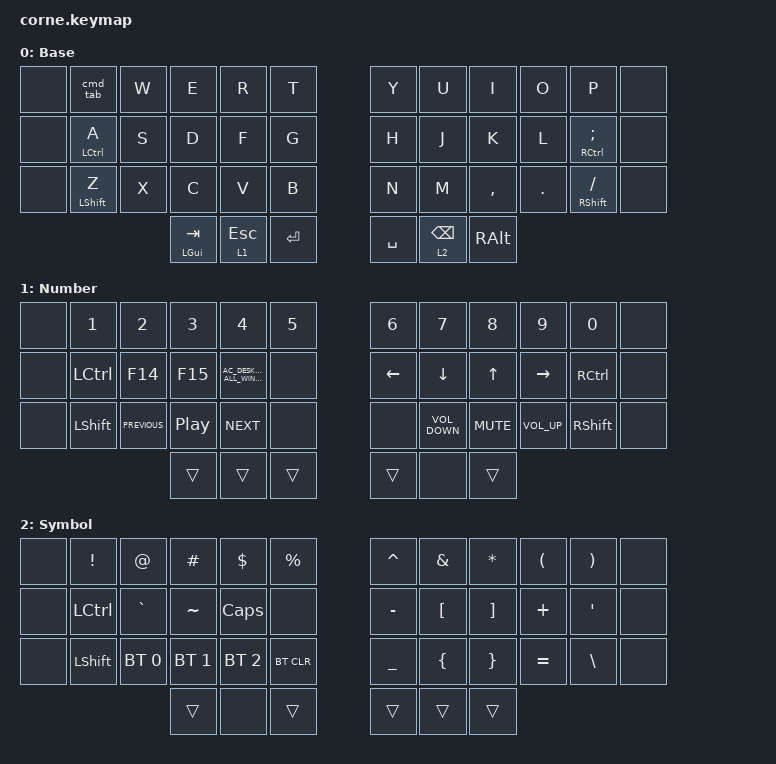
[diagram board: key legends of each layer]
/*
 * Copyright (c) 2020 The ZMK Contributors
 *
 * SPDX-License-Identifier: MIT
 */

#include <behaviors.dtsi>
#include <dt-bindings/zmk/bt.h>
#include <dt-bindings/zmk/keys.h>

&mt {
  flavor = "balanced";
  quick-tap-ms = <200>;
};

&lt {
  flavor = "balanced";
  quick-tap-ms = <200>;
};

/ {
        behaviors {
          cmd_tab: cmd_tab {
            compatible = "zmk,behavior-mod-morph";
            #binding-cells = <0>;
            bindings = <&kp Q>, <&kp TAB>;
            mods = <(MOD_LGUI)>;
            keep-mods = <(MOD_LGUI)>;
          };
        };

        keymap {
                compatible = "zmk,keymap";

                default_layer {
                        display-name = "Base";
                        bindings = <
// ╭───────────────┬───────────────┬───────────────┬───────────────┬───────────────┬───────────────╮  ╭───────────────┬───────────────┬───────────────┬───────────────┬───────────────┬───────────────╮
    &none           &cmd_tab        &kp W           &kp E           &kp R           &kp T              &kp Y           &kp U           &kp I           &kp O           &kp P           &none
// ├───────────────┼───────────────┼───────────────┼───────────────┼───────────────┤───────────────┤  ├───────────────┼───────────────┼───────────────┼───────────────┼───────────────┤───────────────┤
    &none           &mt LCTRL A     &kp S           &kp D           &kp F           &kp G              &kp H           &kp J           &kp K           &kp L           &mt RCTRL SEMI  &none
// ├───────────────┼───────────────┼───────────────┼───────────────┼───────────────┤───────────────┤  ├───────────────┼───────────────┼───────────────┼───────────────┼───────────────┤───────────────┤
    &none           &mt LSHFT Z     &kp X           &kp C           &kp V           &kp B              &kp N           &kp M           &kp COMMA       &kp DOT         &mt RSHFT SLASH &none
// ├───────────────┼───────────────┼───────────────┼───────────────┼───────────────┤───────────────┤  ├───────────────┼───────────────┼───────────────┼───────────────┼───────────────┤───────────────┤
                                                    &mt LGUI TAB    &lt 1 ESC       &kp RET            &kp SPACE       &lt 2 BSPC      &kp RALT
//                                                 ╰───────────────┴───────────────┴───────────────╯  ╰───────────────┴───────────────┴───────────────╯
                        >;
                };

                lower_layer {
                        display-name = "Number";
                        bindings = <
// ╭───────────────┬───────────────┬───────────────┬─────────────────┬───────────────┬───────────────╮  ╭───────────────┬──────────────────┬───────────────┬────────────────┬───────────────┬───────────────╮
    &none           &kp N1          &kp N2          &kp N3            &kp N4          &kp N5             &kp N6          &kp N7             &kp N8          &kp N9           &kp N0          &none
// ├───────────────┼───────────────┼───────────────┼─────────────────┼───────────────┤───────────────┤  ├───────────────┼──────────────────┼───────────────┼────────────────┼───────────────┤───────────────┤
    &none           &kp LCTRL       &kp F14         &kp F15           &kp C_AC_DESKTOP_SHOW_ALL_WINDOWS  &none &kp LEFT  &kp DOWN           &kp UP          &kp RIGHT        &kp RCTRL       &none
// ├───────────────┼───────────────┼───────────────┼─────────────────┼───────────────┤───────────────┤  ├───────────────┼──────────────────┼───────────────┼────────────────┼───────────────┤───────────────┤
    &none           &kp LSHFT       &kp C_PREVIOUS  &kp C_PLAY_PAUSE  &kp C_NEXT      &none              &none           &kp C_VOLUME_DOWN  &kp K_MUTE      &kp C_VOLUME_UP  &kp RSHFT       &none
// ├───────────────┼───────────────┼───────────────┼─────────────────┼───────────────┤───────────────┤  ├───────────────┼──────────────────┼───────────────┼────────────────┼───────────────┤───────────────┤
                                                    &trans            &trans          &trans             &trans          &none              &trans
//                                                 ╰─────────────────┴───────────────┴───────────────╯  ╰───────────────┴──────────────────┴───────────────╯
                        >;
                };

                raise_layer {
                        display-name = "Symbol";
                        bindings = <
// ╭───────────────┬───────────────┬───────────────┬───────────────┬───────────────┬───────────────╮  ╭───────────────┬───────────────┬───────────────┬───────────────┬───────────────┬───────────────╮
    &none           &kp EXCL        &kp AT          &kp HASH        &kp DLLR        &kp PRCNT          &kp CARET       &kp AMPS        &kp STAR        &kp LPAR        &kp RPAR        &none
// ├───────────────┼───────────────┼───────────────┼───────────────┼───────────────┤───────────────┤  ├───────────────┼───────────────┼───────────────┼───────────────┼───────────────┤───────────────┤
    &none           &kp LCTRL       &kp GRAVE       &kp TILDE       &kp CAPS        &none              &kp MINUS       &kp LBKT        &kp RBKT        &kp PLUS        &kp SQT         &none
// ├───────────────┼───────────────┼───────────────┼───────────────┼───────────────┤───────────────┤  ├───────────────┼───────────────┼───────────────┼───────────────┼───────────────┤───────────────┤
    &none           &kp LSHFT       &bt BT_SEL 0    &bt BT_SEL 1    &bt BT_SEL 2    &bt BT_CLR         &kp UNDERSCORE  &kp LBRC        &kp RBRC        &kp EQUAL       &kp BSLH        &none
// ├───────────────┼───────────────┼───────────────┼───────────────┼───────────────┤───────────────┤  ├───────────────┼───────────────┼───────────────┼───────────────┼───────────────┤───────────────┤
                                                    &trans          &none           &trans             &trans          &trans          &trans
//                                                 ╰───────────────┴───────────────┴───────────────╯  ╰───────────────┴───────────────┴───────────────╯
                        >;
                };
        };
};
